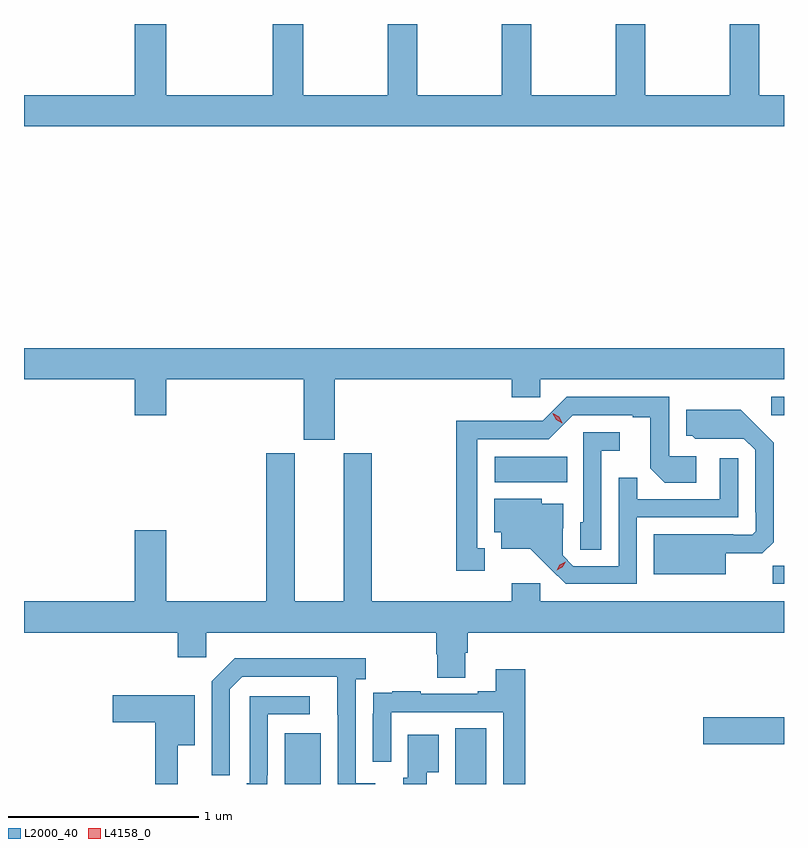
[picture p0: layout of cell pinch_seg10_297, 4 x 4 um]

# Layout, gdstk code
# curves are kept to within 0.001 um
import gdstk
lib = gdstk.Library(unit=1e-6, precision=1e-09)
def R(c, l, rs):  # rectangles x0, y0, x1, y1
    for r in rs: c.add(gdstk.rectangle(r[:2], r[2:], *l))
def P(c, l, *ps):  # polygons
    for p in ps: c.add(gdstk.Polygon(p, *l))
L2000_40 = (2000, 40)
L4158_0 = (4158, 0)

pinch_seg10_297 = lib.new_cell('pinch_seg10_297')
R(pinch_seg10_297, L2000_40, [(405.557,1304.847,405.745,1305.115), (406.454,1304.847,406.618,1305.14), (407.76,1305.056,408.184,1305.198), (408.124,1305.9,408.184,1305.995), (406.662,1306.436,407.042,1306.57), (408.117,1306.788,408.184,1306.884)])
P(pinch_seg10_297, L2000_40, [(408.184,1308.472),(408.054,1308.472),(408.054,1308.847),(407.899,1308.847),(407.899,1308.472),(407.454,1308.472),(407.454,1308.847),(407.299,1308.847),(407.299,1308.472),(406.854,1308.472),(406.854,1308.847),(406.699,1308.847),(406.699,1308.472),(406.254,1308.472),(406.254,1308.847),(406.099,1308.847),(406.099,1308.472),(405.654,1308.472),(405.654,1308.847),(405.494,1308.847),(405.494,1308.472),(404.932,1308.472),(404.932,1308.847),(404.768,1308.847),(404.768,1308.472),(404.184,1308.472),(404.184,1308.308),(408.184,1308.308)],
  [(405.82,1306.976),(406.751,1306.976),(406.751,1306.883),(406.902,1306.883),(406.902,1306.976),(408.184,1306.976),(408.184,1307.14),(404.184,1307.14),(404.184,1306.976),(404.768,1306.976),(404.768,1306.788),(404.932,1306.788),(404.932,1306.976),(405.656,1306.976),(405.656,1306.659),(405.82,1306.659)],
  [(406.609,1306.089),(406.57,1306.089),(406.57,1306.662),(406.947,1306.662),(407.073,1306.788),(407.387,1306.788),(407.387,1306.776),(407.481,1306.776),(407.481,1306.508),(407.557,1306.432),(407.722,1306.432),(407.722,1306.572),(407.58,1306.572),(407.58,1306.884),(407.04,1306.884),(406.914,1306.758),(406.692,1306.758),(406.692,1306.76),(406.459,1306.76),(406.459,1305.969),(406.609,1305.969)],
  [(407.878,1306.061),(408.07,1306.061),(408.129,1306.12),(408.129,1306.642),(407.957,1306.816),(407.669,1306.816),(407.669,1306.68),(407.7,1306.68),(407.716,1306.664),(407.973,1306.665),(408.033,1306.605),(408.033,1306.276),(408.036,1306.276),(408.036,1306.176),(408.018,1306.158),(407.918,1306.158),(407.918,1306.162),(407.498,1306.162),(407.498,1305.95),(407.878,1305.95)],
  [(407.223,1306.601),(407.32,1306.601),(407.32,1306.698),(407.127,1306.698),(407.127,1306.224),(407.112,1306.224),(407.112,1306.081),(407.223,1306.081)],
  [(406.507,1305.538),(406.52,1305.538),(406.52,1305.644),(408.184,1305.644),(408.184,1305.808),(406.902,1305.808),(406.902,1305.904),(406.751,1305.904),(406.751,1305.808),(406.014,1305.808),(406.014,1306.587),(405.866,1306.587),(405.866,1305.808),(405.61,1305.808),(405.61,1306.587),(405.458,1306.587),(405.458,1305.808),(404.932,1305.808),(404.932,1306.183),(404.768,1306.183),(404.768,1305.808),(404.184,1305.808),(404.184,1305.644),(404.993,1305.644),(404.993,1305.513),(405.144,1305.513),(405.144,1305.644),(406.355,1305.644),(406.355,1305.531),(406.36,1305.531),(406.36,1305.406),(406.507,1305.406)],
  [(407.409,1306.251),(407.943,1306.251),(407.943,1306.561),(407.847,1306.561),(407.847,1306.347),(407.411,1306.347),(407.411,1306.46),(407.313,1306.46),(407.313,1305.993),(407.076,1305.993),(407.019,1306.05),(407.019,1306.192),(407.023,1306.192),(407.023,1306.321),(406.908,1306.321),(406.908,1306.348),(406.658,1306.348),(406.658,1306.172),(406.697,1306.172),(406.697,1306.085),(406.849,1306.085),(407.036,1305.9),(407.409,1305.9)],
  [(406.033,1304.85),(405.93,1304.85),(405.93,1305.398),(405.982,1305.398),(405.982,1305.508),(405.292,1305.508),(405.171,1305.387),(405.171,1304.892),(405.267,1304.892),(405.267,1305.345),(405.333,1305.411),(405.833,1305.411),(405.834,1304.847),(406.033,1304.847)],
  [(406.823,1305.451),(406.667,1305.451),(406.667,1305.334),(406.571,1305.334),(406.571,1305.321),(406.271,1305.321),(406.271,1305.334),(406.123,1305.334),(406.123,1305.327),(406.021,1305.327),(406.021,1305.218),(406.02,1305.218),(406.02,1304.964),(406.116,1304.964),(406.116,1305.225),(406.707,1305.225),(406.707,1304.847),(406.823,1304.847)],
  [(404.993,1305.05),(405.082,1305.05),(405.082,1305.315),(404.652,1305.315),(404.652,1305.173),(404.875,1305.173),(404.875,1304.847),(404.993,1304.847)],
  [(405.465,1304.893),(405.468,1304.893),(405.468,1305.213),(405.688,1305.213),(405.688,1305.309),(405.372,1305.309),(405.372,1304.851),(405.357,1304.851),(405.357,1304.847),(405.465,1304.847)],
  [(406.303,1304.909),(406.366,1304.909),(406.366,1305.106),(406.205,1305.106),(406.205,1304.88),(406.181,1304.88),(406.181,1304.847),(406.303,1304.847)])
P(pinch_seg10_297, L4158_0, [(406.987,1305.972),(406.987,1305.972),(407.004,1306.002),(407.035,1306.018),(407.035,1306.018),(407.035,1306.017),(407.018,1305.987),(406.987,1305.972)],
  [(407.018,1306.746),(406.986,1306.765),(406.968,1306.797),(406.968,1306.798),(406.968,1306.798),(407,1306.779),(407.018,1306.747),(407.018,1306.746)])

lib.write_gds('pinch_seg10_297.gds')
